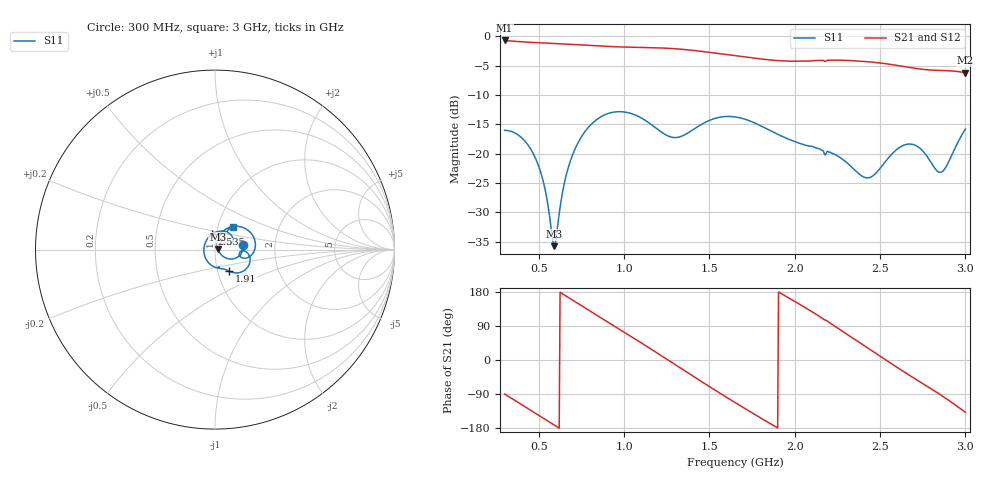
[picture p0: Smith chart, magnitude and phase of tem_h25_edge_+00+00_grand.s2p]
! tem_h25_edge_+00+00_grand
! simulated by sim/fixtures_fdtd.py (S12 = S21, S22 not computed)
# HZ S RI R 50
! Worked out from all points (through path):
!   541 points, 300 MHz to 3 GHz, reference 50 ohm
!   highest |S21| = -0.70 dB at 300 MHz (marker M1); lowest = -6.2 dB at 3 GHz (marker M2)
!   group delay of S21, straight-line fit = 784 ps
!   lowest |S11| = -35.8 dB at 590 MHz (marker M3), VSWR 1.03, Z = 51.6 + j0.397 ohm
!   |S11| at or under -10 dB: start of sweep to end of sweep
!   |S22| runs from - to - dB; largest |S21 - S12| = 0
!   S11 on the Smith chart (normalised r, x): 300 MHz: 1.37, +0.07; 1.91 GHz: 1.13, -0.28; 2.535 GHz: 0.95, +0.16; 3 GHz: 1.18, +0.31
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3e8  0.1559 0.0255  0.00545 -0.9231  0.00545 -0.9231  0 0
4.8e8  0.0761 -0.0515  -0.6816 -0.5653  -0.6816 -0.5653  0 0
5.9e8  0.0158 0.00385  -0.8604 -0.1307  -0.8604 -0.1307  0 0
6.65e8  0.0191 0.0663  -0.8385 0.1874  -0.8385 0.1874  0 0
7.5e8  0.0707 0.1196  -0.6783 0.5039  -0.6783 0.5039  0 0
8.6e8  0.1666 0.1184  -0.3179 0.7632  -0.3179 0.7632  0 0
9.7e8  0.2227 0.0482  0.1132 0.806  0.1132 0.806  0 0
1.2e9  0.1528 -0.0463  0.7648 0.2297  0.7648 0.2297  0 0
1.315e9  0.1365 -0.0178  0.748 -0.226  0.748 -0.226  0 0
1.445e9  0.1741 -0.0127  0.4338 -0.6089  0.4338 -0.6089  0 0
1.65e9  0.1781 -0.1028  -0.2579 -0.6331  -0.2579 -0.6331  0 0
1.78e9  0.1223 -0.13  -0.5456 -0.3475  -0.5456 -0.3475  0 0
1.91e9  0.0787 -0.1204  -0.6199 0.0196  -0.6199 0.0196  0 0
2.1e9  0.0421 -0.1075  -0.3805 0.488  -0.3805 0.488  0 0
2.295e9  -0.028 -0.0815  0.2004 0.5918  0.2004 0.5918  0 0
2.425e9  -0.0619 0.00332  0.5132 0.3272  0.5132 0.3272  0 0
2.535e9  -0.0175 0.0851  0.5846 -0.0038  0.5846 -0.0038  0 0
2.55e9  -0.00616 0.0921  0.5785 -0.0488  0.5785 -0.0488  0 0
2.675e9  0.0891 0.0814  0.408 -0.3579  0.408 -0.3579  0 0
2.785e9  0.0858 0.0278  0.16 -0.4924  0.16 -0.4924  0 0
2.865e9  0.0541 0.0449  -0.0453 -0.5097  -0.0453 -0.5097  0 0
3e9  0.0988 0.1282  -0.3623 -0.3285  -0.3623 -0.3285  0 0
